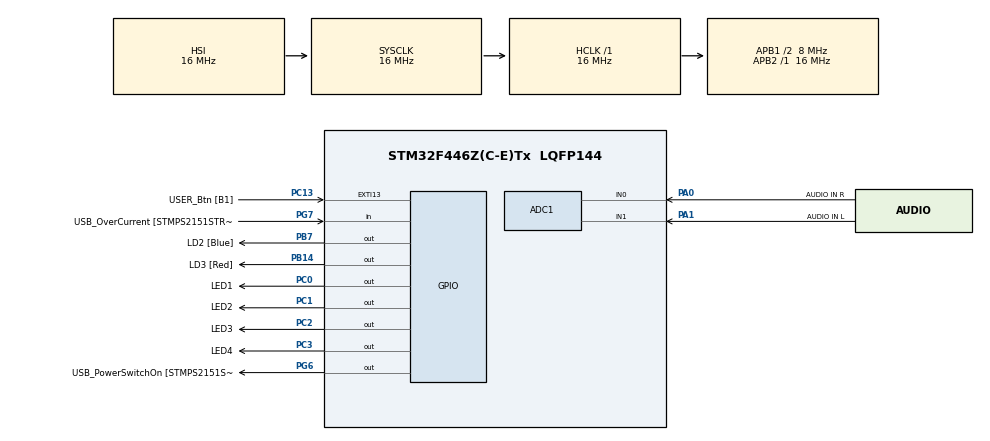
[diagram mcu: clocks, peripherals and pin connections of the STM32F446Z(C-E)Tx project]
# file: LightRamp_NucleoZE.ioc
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ADC1.Channel-0\#ChannelRegularConversion=ADC_CHANNEL_0
ADC1.NbrOfConversionFlag=1
ADC1.Rank-0\#ChannelRegularConversion=1
ADC1.SamplingTime-0\#ChannelRegularConversion=ADC_SAMPLETIME_3CYCLES
ADC1.master=1
Mcu.Family=STM32F4
Mcu.Name=STM32F446Z(C-E)Tx
Mcu.Package=LQFP144
NVIC.ADC_IRQn=true\:0\:0\:false\:false\:true\:true
NVIC.PriorityGroup=NVIC_PRIORITYGROUP_4
PA0-WKUP.GPIO_Label=AUDIO IN R
PA0-WKUP.Signal=ADCx_IN0
PA1.GPIO_Label=AUDIO IN L
PA1.Signal=ADCx_IN1
PA10.GPIO_Label=USB_ID
PA10.Signal=USB_OTG_FS_ID
PA11.GPIO_Label=USB_DM
PA11.Signal=USB_OTG_FS_DM
PA12.GPIO_Label=USB_DP
PA12.Signal=USB_OTG_FS_DP
PA13.GPIO_Label=TMS
PA13.Signal=SYS_JTMS-SWDIO
PA14.GPIO_Label=TCK
PA14.Signal=SYS_JTCK-SWCLK
PA8.GPIO_Label=USB_SOF [TP1]
PA8.Signal=USB_OTG_FS_SOF
PA9.GPIO_Label=USB_VBUS
PA9.Signal=USB_OTG_FS_VBUS
PB14.GPIO_Label=LD3 [Red]
PB14.Signal=GPIO_Output
PB7.GPIO_Label=LD2 [Blue]
PB7.Signal=GPIO_Output
PC0.GPIO_Label=LED1
PC0.GPIO_Speed=GPIO_SPEED_FREQ_VERY_HIGH
PC0.Signal=GPIO_Output
PC1.GPIO_Label=LED2
PC1.GPIO_Speed=GPIO_SPEED_FREQ_VERY_HIGH
PC1.Signal=GPIO_Output
PC13.GPIO_Label=USER_Btn [B1]
PC13.Signal=GPXTI13
PC14-OSC32_IN.Signal=RCC_OSC32_IN
PC15-OSC32_OUT.Signal=RCC_OSC32_OUT
PC2.GPIO_Label=LED3
PC2.GPIO_Speed=GPIO_SPEED_FREQ_VERY_HIGH
PC2.Signal=GPIO_Output
PC3.GPIO_Label=LED4
PC3.GPIO_Speed=GPIO_SPEED_FREQ_VERY_HIGH
PC3.Signal=GPIO_Output
PD8.GPIO_Label=STLK_RX [STM32F103CBT6_PA3]
PD8.Signal=USART3_TX
PD9.GPIO_Label=STLK_TX [STM32F103CBT6_PA2]
PD9.Signal=USART3_RX
PG6.GPIO_Label=USB_PowerSwitchOn [STMPS2151STR_EN]
PG6.Signal=GPIO_Output
PG7.GPIO_Label=USB_OverCurrent [STMPS2151STR_FAULT]
PG7.Signal=GPIO_Input
PH0-OSC_IN.GPIO_Label=MCO [STM32F103CBT6_PA8]
PH0-OSC_IN.Signal=RCC_OSC_IN
PH1-OSC_OUT.Signal=RCC_OSC_OUT
ProjectManager.HeapSize=0x200
ProjectManager.StackSize=0x400
ProjectManager.TargetToolchain=SW4STM32
RCC.48MHZClocksFreq_Value=24000000
RCC.AHBFreq_Value=16000000
RCC.APB1CLKDivider=RCC_HCLK_DIV2
RCC.APB1Freq_Value=8000000
RCC.APB1TimFreq_Value=16000000
RCC.APB2Freq_Value=16000000
RCC.APB2TimFreq_Value=16000000
RCC.CortexFreq_Value=16000000
RCC.HCLKFreq_Value=16000000
RCC.HSE_VALUE=8000000
RCC.HSI_VALUE=16000000
RCC.LSE_VALUE=32768
RCC.PLLMUL=RCC_PLL_MUL9
RCC.PRESCALERUSB=RCC_USBCLKSOURCE_PLL_DIV1_5
RCC.SYSCLKFreq_VALUE=16000000
RCC.SYSCLKSourceVirtual=RCC_SYSCLKSOURCE_PLLCLK
RCC.USBFreq_Value=96000000
RCC.VCOOutputFreq_Value=192000000
SH.ADCx_IN0.0=ADC1_IN0,IN0
SH.ADCx_IN1.0=ADC1_IN1,IN1
board=NUCLEO-F446ZE

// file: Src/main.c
/**
  ******************************************************************************
  * File Name          : main.c
  * Description        : Main program body
  ******************************************************************************
  ** This notice applies to any and all portions of this file
  * that are not between comment pairs USER CODE BEGIN and
  * USER CODE END. Other portions of this file, whether
  * inserted by the user or by software development tools
  * are owned by their respective copyright owners.
  *
  * COPYRIGHT(c) 2018 STMicroelectronics
  *
  * Redistribution and use in source and binary forms, with or without modification,
  * are permitted provided that the following conditions are met:
  *   1. Redistributions of source code must retain the above copyright notice,
  *      this list of conditions and the following disclaimer.
  *   2. Redistributions in binary form must reproduce the above copyright notice,
  *      this list of conditions and the following disclaimer in the documentation
  *      and/or other materials provided with the distribution.
  *   3. Neither the name of STMicroelectronics nor the names of its contributors
  *      may be used to endorse or promote products derived from this software
  *      without specific prior written permission.
  *
  * THIS SOFTWARE IS PROVIDED BY THE COPYRIGHT HOLDERS AND CONTRIBUTORS "AS IS"
  * AND ANY EXPRESS OR IMPLIED WARRANTIES, INCLUDING, BUT NOT LIMITED TO, THE
  * IMPLIED WARRANTIES OF MERCHANTABILITY AND FITNESS FOR A PARTICULAR PURPOSE ARE
  * DISCLAIMED. IN NO EVENT SHALL THE COPYRIGHT HOLDER OR CONTRIBUTORS BE LIABLE
  * FOR ANY DIRECT, INDIRECT, INCIDENTAL, SPECIAL, EXEMPLARY, OR CONSEQUENTIAL
  * DAMAGES (INCLUDING, BUT NOT LIMITED TO, PROCUREMENT OF SUBSTITUTE GOODS OR
  * SERVICES; LOSS OF USE, DATA, OR PROFITS; OR BUSINESS INTERRUPTION) HOWEVER
  * CAUSED AND ON ANY THEORY OF LIABILITY, WHETHER IN CONTRACT, STRICT LIABILITY,
  * OR TORT (INCLUDING NEGLIGENCE OR OTHERWISE) ARISING IN ANY WAY OUT OF THE USE
  * OF THIS SOFTWARE, EVEN IF ADVISED OF THE POSSIBILITY OF SUCH DAMAGE.
  *
  ******************************************************************************
  */

#include "main.h"
#include "stm32f4xx_hal.h"
#include "adc.h"
#include "gpio.h"

/* USER CODE BEGIN PV */
/* Private variables ---------------------------------------------------------*/

/* USER CODE END PV */

void SystemClock_Config(void);

/* USER CODE BEGIN PFP */
/* Private function prototypes -----------------------------------------------*/

/* USER CODE END PFP */

int main(void)
{

  /* USER CODE BEGIN 1 */

	nsamp = 20;		// number of samples per block
	setblocksize(nsamp);		// set number of samples per block
	nsamp = getblocksize();	// get back blocksize

	const float offset = -0.99;	// DC offset to add to filtered block
	// thresholds for turning LEDs on/off
	float thresh_lo = -0.6;
	float thresh_lo_mid = -0.65;
	float thresh_mid_hi = -0.8;
	float thresh_hi = -0.8;
	// scaling factors for each filter
	float scale_input = 1;
	float scale_lo = 3;
	float scale_lo_mid = 3;
	float scale_mid_hi = 4;
	float scale_hi = 5;
	// float increment = 1.3;

	// set up filter structures
	arm_biquad_cascade_df2T_instance_f32 filter_lo;
	arm_biquad_cascade_df2T_init_f32(&filter_lo,sections_lo,coefs_lo,pstate_lo);
	arm_biquad_cascade_df2T_instance_f32 filter_lo_mid;
	arm_biquad_cascade_df2T_init_f32(&filter_lo_mid,sections_lo_mid,coefs_lo_mid,pstate_lo_mid);
	arm_biquad_cascade_df2T_instance_f32 filter_mid_hi;
	arm_biquad_cascade_df2T_init_f32(&filter_mid_hi,sections_mid_hi,coefs_mid_hi,pstate_mid_hi);
	arm_biquad_cascade_df2T_instance_f32 filter_hi;
	arm_biquad_cascade_df2T_init_f32(&filter_hi,sections_hi,coefs_hi,pstate_hi);

	// allocate memory for buffers
	input = (float*)malloc(sizeof(float)*nsamp);
	output_lo = (float*)malloc(sizeof(float)*nsamp);
	output_lo_mid = (float*)malloc(sizeof(float)*nsamp);
	output_mid_hi = (float*)malloc(sizeof(float)*nsamp);
	output_hi = (float*)malloc(sizeof(float)*nsamp);

	if (input==NULL || output_lo==NULL || output_lo_mid==NULL || output_mid_hi==NULL || output_hi==NULL)	{
		flagerror(MEMORY_ALLOCATION_ERROR);
		while(1);
	}

  /* USER CODE END 1 */

  /* MCU Configuration----------------------------------------------------------*/

  /* Reset of all peripherals, Initializes the Flash interface and the Systick. */
  HAL_Init();

  /* Configure the system clock */
  SystemClock_Config();

  /* Initialize all configured peripherals */
  MX_GPIO_Init();
  MX_ADC1_Init();

  /* Infinite loop */
	while (1)
	{

  /* USER CODE BEGIN 3 */

		getblock(input);	// grabs input samples

		if (scale_input > 1)	arm_scale_f32(input,scale_input,input,nsamp);

		// execute each filter
		arm_biquad_cascade_df2T_f32(&filter_lo,input,output_lo,nsamp);
		arm_biquad_cascade_df2T_f32(&filter_lo_mid,input,output_lo_mid,nsamp);
		arm_biquad_cascade_df2T_f32(&filter_mid_hi,input,output_mid_hi,nsamp);
		arm_biquad_cascade_df2T_f32(&filter_hi,input,output_hi,nsamp);

		// scale each filtered block up
		arm_scale_f32(output_lo,scale_lo,output_lo,nsamp);
		arm_scale_f32(output_lo_mid,scale_lo_mid,output_lo_mid,nsamp);
		arm_scale_f32(output_mid_hi,scale_mid_hi,output_mid_hi,nsamp);
		arm_scale_f32(output_hi,scale_hi,output_hi,nsamp);

		// get absolute value of each filtered block
		arm_abs_f32(output_lo,output_lo,nsamp);
		arm_abs_f32(output_lo_mid,output_lo_mid,nsamp);
		arm_abs_f32(output_mid_hi,output_mid_hi,nsamp);
		arm_abs_f32(output_hi,output_hi,nsamp);

		// remove DC offset from filtered block
		arm_offset_f32(output_lo,offset,output_lo,nsamp);
		arm_offset_f32(output_lo_mid,offset,output_lo_mid,nsamp);
		arm_offset_f32(output_mid_hi,offset,output_mid_hi,nsamp);
		arm_offset_f32(output_hi,offset,output_hi,nsamp);

		// get mean of each filtered block and set/clear LEDs
		arm_mean_f32(output_lo,nsamp,&mean);
		if(mean > thresh_lo) LO_SET();
		else LO_RESET();
		arm_mean_f32(output_lo_mid,nsamp,&mean);
		if(mean > thresh_lo_mid) LO_MID_SET();
		else LO_MID_RESET();
		arm_mean_f32(output_mid_hi,nsamp,&mean);
		if(mean > thresh_mid_hi) MID_HI_SET();
		else MID_HI_RESET();
		arm_mean_f32(output_hi,nsamp,&mean);
		if(mean > thresh_hi) HI_SET();
		else HI_RESET();

		if (KeyPressed) {
			KeyPressed = RESET;
			flash_lo(50);
		}

	}

  /* USER CODE END 3 */

}

/** System Clock Configuration
*/
void SystemClock_Config(void)
{

  RCC_OscInitTypeDef RCC_OscInitStruct;
  RCC_ClkInitTypeDef RCC_ClkInitStruct;

    /**Configure the main internal regulator output voltage
    */
  __HAL_RCC_PWR_CLK_ENABLE();

  __HAL_PWR_VOLTAGESCALING_CONFIG(PWR_REGULATOR_VOLTAGE_SCALE3);

    /**Initializes the CPU, AHB and APB busses clocks
    */
  RCC_OscInitStruct.OscillatorType = RCC_OSCILLATORTYPE_HSI;
  RCC_OscInitStruct.HSIState = RCC_HSI_ON;
  RCC_OscInitStruct.HSICalibrationValue = 16;
  RCC_OscInitStruct.PLL.PLLState = RCC_PLL_NONE;
  if (HAL_RCC_OscConfig(&RCC_OscInitStruct) != HAL_OK)
  {
    _Error_Handler(__FILE__, __LINE__);
  }

    /**Initializes the CPU, AHB and APB busses clocks
    */
  RCC_ClkInitStruct.ClockType = RCC_CLOCKTYPE_HCLK|RCC_CLOCKTYPE_SYSCLK
                              |RCC_CLOCKTYPE_PCLK1|RCC_CLOCKTYPE_PCLK2;
  RCC_ClkInitStruct.SYSCLKSource = RCC_SYSCLKSOURCE_HSI;
  RCC_ClkInitStruct.AHBCLKDivider = RCC_SYSCLK_DIV1;
  RCC_ClkInitStruct.APB1CLKDivider = RCC_HCLK_DIV2;
  RCC_ClkInitStruct.APB2CLKDivider = RCC_HCLK_DIV1;

  if (HAL_RCC_ClockConfig(&RCC_ClkInitStruct, FLASH_LATENCY_0) != HAL_OK)
  {
    _Error_Handler(__FILE__, __LINE__);
  }

    /**Configure the Systick interrupt time
    */
  HAL_SYSTICK_Config(HAL_RCC_GetHCLKFreq()/1000);

    /**Configure the Systick
    */
  HAL_SYSTICK_CLKSourceConfig(SYSTICK_CLKSOURCE_HCLK);

  /* SysTick_IRQn interrupt configuration */
  HAL_NVIC_SetPriority(SysTick_IRQn, 0, 0);
}

/* USER CODE BEGIN 4 */

// simple function to return block size
int getblocksize()
{
	return ADC_Block_Size;
}

// sets the number of samples that the user should expect to process per block
void setblocksize( uint32_t blksiz )
{
	/*
	 * setblocksize() should only be called before calling initialize().
	 * If the ADC & DAC buffers have already been allocated, then initialize()
	 * must have already been called, and we're too late to change the buffer
	 * sizes.  Flag an error and return without changing anything.
	 */
	if (ADC_Input_Buffer != NULL) {
		flagerror(SETBLOCKSIZE_ERROR);
		return;
	}

	ADC_Block_Size = blksiz;
	ADC_Buffer_Size = 2*blksiz;
}

// get new data block from ADC
void getblock(float * working)
{
	uint32_t i;

	// Wait for the DMA to finish filling a block of data
	Sampler_Status = WAIT_FOR_NEXT_BUFFER;
	while (Sampler_Status == WAIT_FOR_NEXT_BUFFER) __WFI();

	// The DMA ISR sets the Lower_Ready flag to indicate whether we should
	// be processing the upper or lower half of the DMA transfer block.
	if (Lower_Ready) {
		inbuf = ADC_Input_Buffer;
		outbuf = DAC_Output_Buffer;
	} else {
		inbuf = &(ADC_Input_Buffer[ADC_Block_Size]);
		outbuf = &(DAC_Output_Buffer[ADC_Block_Size]);
	}

	// Now convert the valid ADC data into the caller's array of floats.
	// Samples are normalized to range from -1.0 to 1.0
	for (i=0; i< ADC_Block_Size; i++) {
		// 1/32768 = 3.0517578e-05  (Multiplication is much faster than dividing)
		working[i] = ((float)((int)inbuf[i]-32767))*3.0517578e-05f;
	}
}

// send output samples to the DAC
void putblock(float * working)
{
	uint32_t i;

	// the "outbuf" pointer is set by getblock() to indicate the
	// appropriate destination of any output samples.
	//
	// floating point values between -1 and +1 are mapped
	// into the range of the DAC
	for (i=0; i<ADC_Block_Size; i++) {
		outbuf[i] = ((int)((working[i]+1.0)*32768.0f)) & 0x0000ffff;
	}
}

void putblockstereo(float * chan1, float * chan2)
{
	uint32_t i;

	if (Output_Configuration == MONO_OUT) {
		putblock( chan1 );
		return;
	}

	// the "outbuf" pointer is set by getblock() to indicate the
	// appropriate destination of any output samples.
	//
	// floating point values between -1 and +1 are mapped
	// into the range of the DAC
	//
	// chan1 goes into the most-significant 16 bits (DAC1),
	// chan2 in the least significant (DAC1)
	for (i=0; i<ADC_Block_Size; i++) {
		outbuf[i] = ( ((int)((chan2[i]+1.0)*32768.0f)) & 0x0000ffff ) |
				((((int)((chan1[i]+1.0)*32768.0f)) & 0x0000ffff)<<16);
	}
}

void getblockstereo(float *chan1, float *chan2)
{
	uint32_t i;

	if (Input_Configuration == MONO_IN) {
		getblock( chan1 );
		return;
	}

	// Wait for the DMA to finish filling a block of data
	Sampler_Status = WAIT_FOR_NEXT_BUFFER;
	while (Sampler_Status == WAIT_FOR_NEXT_BUFFER) __WFI();

	// The DMA ISR sets the Lower_Ready flag to indicate whether we should
	// be processing the upper or lower half of the DMA transfer block.
	if (Lower_Ready) {
		inbuf = ADC_Input_Buffer;
		outbuf = DAC_Output_Buffer;
	} else {
		inbuf = &(ADC_Input_Buffer[ADC_Block_Size]);
		outbuf = &(DAC_Output_Buffer[ADC_Block_Size]);
	}

	// Now convert the valid ADC data into the caller's arrays of floats.
	// Samples are normalized to range from -1.0 to 1.0
	// Channel 1 is in the least significant 16 bits of the DMA transfer data,
	// Channel 2 is in the most significant 16 bits.
	for (i = 0; i< ADC_Block_Size; i++) {
		// 1/32768 = 3.0517578e-05  (Multiplication is much faster than dividing)
		chan1[i]=((float)( (int)(inbuf[i]&0x0000ffff)-32767))*3.0517578e-05f;
		chan2[i]=((float)( (int)((inbuf[i]&0xffff0000)>>16)-32767))*3.0517578e-05f;
	}
}

void HAL_ADC_ConvCpltCallback(ADC_HandleTypeDef* hadc)
{
	// The ADC has filled the input buffer, and is beginning to over-write
	// the beginning of the array.  The user should get to work processing the
	// end of the array.
	Lower_Ready = 0;

	if (Sampler_Status == STARTUP) {
		// No need to do anything... user is still initializing
	}
	else if (Sampler_Status == WAIT_FOR_NEXT_BUFFER) {
		Sampler_Status = PROCESS_BUFFER;	// Turn the supervisor loose on the
		// next buffer
	} else {
		flagerror(SAMPLE_OVERRUN);	// If the supervisor was not waiting for the next
		// buffer, flag the error to let him/her know that
		// they're missing blocks of data.
	}

}

void HAL_ADC_ConvHalfCpltCallback(ADC_HandleTypeDef* hadc)
{
	// The ADC has half-filled the input buffer, and is beginning to over-write
	// the second-half of the array.  The user should get to work processing the
	// beginning of the array.
	Lower_Ready = 1;

	if (Sampler_Status == STARTUP) {
		// No need to do anything... user is still initializing
	}
	else if (Sampler_Status == WAIT_FOR_NEXT_BUFFER) {
		Sampler_Status = PROCESS_BUFFER;	// Turn the supervisor loose on the
		// next buffer
	} else {
		flagerror(SAMPLE_OVERRUN);	// If the supervisor was not waiting for the next
		// buffer, flag the error to let him/her know that
		// they're missing blocks of data.
	}
}

/* LED test flash routine */
void flash(int time)	{
	while (1)	{
		if (KeyPressed) {
			KeyPressed = RESET;
			time = time / 2;
		}
		LO_SET(), LO_MID_SET(), MID_HI_SET(), HI_SET();
		HAL_Delay(time);
		LO_RESET(), LO_MID_RESET(), MID_HI_RESET(), HI_RESET();
		HAL_Delay(time);
	}
}

/* USER CODE END 4 */

void _Error_Handler(char * file, int line)
{
	while(1)
	{
	}
}

/************************ (C) COPYRIGHT STMicroelectronics *****END OF FILE****/
